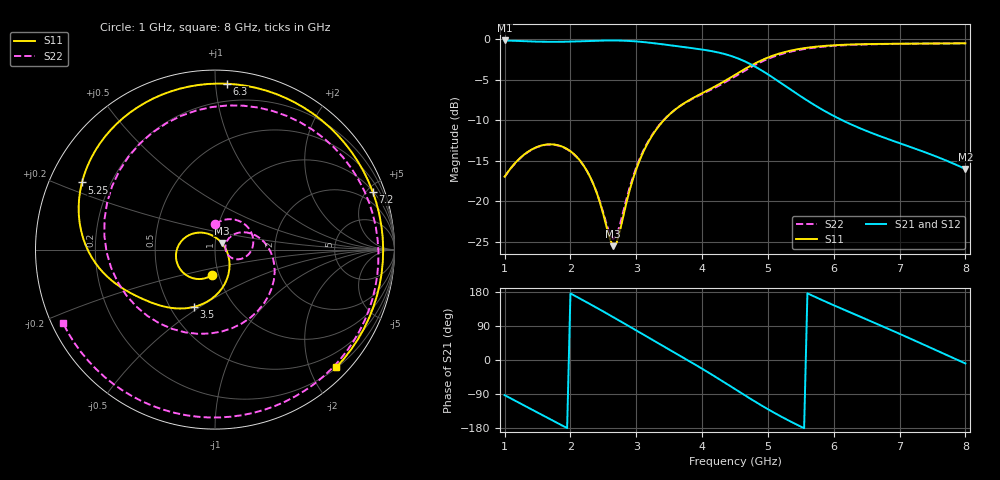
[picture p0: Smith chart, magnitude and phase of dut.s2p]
# GHz S RI R 50
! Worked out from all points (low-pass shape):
!   141 points, 1 GHz to 8 GHz, reference 50 ohm
!   highest |S21| = -0.17 dB at 1 GHz (marker M1); lowest = -16.0 dB at 8 GHz (marker M2)
!   |S21| within 3 dB of the highest: start of sweep to 4.754 GHz
!   lowest |S11| = -25.6 dB at 2.65 GHz (marker M3), VSWR 1.11, Z = 53.8 + j3.97 ohm
!   |S11| at or under -10 dB: start of sweep to 3.421 GHz
!   |S22| runs from -24.7 to -0.5 dB; largest |S21 - S12| = 0
!   S11 on the Smith chart (normalised r, x): 1 GHz: 0.93, -0.27; 3.5 GHz: 0.65, -0.47; 5.25 GHz: 0.10, +0.24; 6.3 GHz: 0.08, +1.07; 7.2 GHz: 1.05, +5.45; 8 GHz: 0.21, -2.45
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1  -0.0155 -0.1406  -0.0469 -0.979  -0.0469 -0.979  0.00182 0.1409
1.3  -0.1056 -0.163  -0.49 -0.8365  -0.49 -0.8365  0.0937 0.1693
1.65  -0.2019 -0.0966  -0.8511 -0.4471  -0.8511 -0.4471  0.1947 0.1086
1.95  -0.2093 0.00968  -0.9631 -0.00405  -0.9631 -0.00405  0.2084 0.0109
2.2  -0.1452 0.0804  -0.8924 0.3807  -0.8924 0.3807  0.1585 -0.0472
2.65  0.0378 0.0368  -0.3857 0.901  -0.3857 0.901  0.0581 0.00439
3  0.0747 -0.1386  0.2011 0.9458  0.2011 0.9458  0.1315 0.094
3.35  -0.043 -0.2897  0.6856 0.6341  0.6856 0.6341  0.2946 0.0152
3.5  -0.1189 -0.3197  0.8116 0.427  0.8116 0.427  0.3307 -0.0873
3.8  -0.2697 -0.3203  0.8832 -0.0373  0.8832 -0.0373  0.2394 -0.3408
4.1  -0.3996 -0.2765  0.708 -0.4677  0.708 -0.4677  -0.0956 -0.4694
4.5  -0.5757 -0.1721  0.1768 -0.751  0.1768 -0.751  -0.5792 -0.0995
4.8  -0.7055 -0.00913  -0.2238 -0.6399  -0.2238 -0.6399  -0.5326 0.4398
5.05  -0.7587 0.1929  -0.4143 -0.4166  -0.4143 -0.4166  -0.19 0.7446
5.25  -0.7413 0.3741  -0.465 -0.2285  -0.465 -0.2285  0.1571 0.802
5.7  -0.5101 0.7347  -0.3844 0.0831  -0.3844 0.0831  0.7587 0.4549
6  -0.246 0.8816  -0.273 0.1949  -0.273 0.1949  0.9058 0.0583
6.3  0.0674 0.924  -0.1549 0.2486  -0.1549 0.2486  0.8572 -0.3372
6.85  0.6379 0.6827  0.0391 0.2362  0.0391 0.2362  0.3927 -0.846
7.2  0.8791 0.3213  0.1266 0.1717  0.1266 0.1717  -0.0382 -0.9352
7.6  0.9172 -0.1959  0.1718 0.0699  0.1718 0.0699  -0.5165 -0.7835
8  0.6751 -0.6565  0.156 -0.0251  0.156 -0.0251  -0.8468 -0.4094
